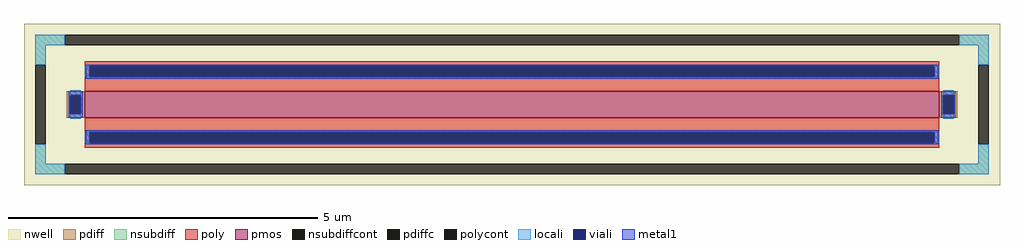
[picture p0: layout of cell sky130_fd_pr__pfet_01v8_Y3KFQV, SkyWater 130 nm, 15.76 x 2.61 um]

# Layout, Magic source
magic
tech sky130A
magscale 1 2
<< nwell >>
rect -1576 -261 1576 261
<< pmos >>
rect -1380 -42 1380 42
<< pdiff >>
rect -1438 30 -1380 42
rect -1438 -30 -1426 30
rect -1392 -30 -1380 30
rect -1438 -42 -1380 -30
rect 1380 30 1438 42
rect 1380 -30 1392 30
rect 1426 -30 1438 30
rect 1380 -42 1438 -30
<< pdiffc >>
rect -1426 -30 -1392 30
rect 1392 -30 1426 30
<< nsubdiff >>
rect -1540 191 -1444 225
rect 1444 191 1540 225
rect -1540 129 -1506 191
rect 1506 129 1540 191
rect -1540 -191 -1506 -129
rect 1506 -191 1540 -129
rect -1540 -225 -1444 -191
rect 1444 -225 1540 -191
<< nsubdiffcont >>
rect -1444 191 1444 225
rect -1540 -129 -1506 129
rect 1506 -129 1540 129
rect -1444 -225 1444 -191
<< poly >>
rect -1380 123 1380 139
rect -1380 89 -1364 123
rect 1364 89 1380 123
rect -1380 42 1380 89
rect -1380 -89 1380 -42
rect -1380 -123 -1364 -89
rect 1364 -123 1380 -89
rect -1380 -139 1380 -123
<< polycont >>
rect -1364 89 1364 123
rect -1364 -123 1364 -89
<< locali >>
rect -1540 191 -1444 225
rect 1444 191 1540 225
rect -1540 129 -1506 191
rect 1506 129 1540 191
rect -1380 89 -1364 123
rect 1364 89 1380 123
rect -1426 30 -1392 46
rect -1426 -46 -1392 -30
rect 1392 30 1426 46
rect 1392 -46 1426 -30
rect -1380 -123 -1364 -89
rect 1364 -123 1380 -89
rect -1540 -191 -1506 -129
rect 1506 -191 1540 -129
rect -1540 -225 -1444 -191
rect 1444 -225 1540 -191
<< viali >>
rect -1364 89 1364 123
rect -1426 -30 -1392 30
rect 1392 -30 1426 30
rect -1364 -123 1364 -89
<< metal1 >>
rect -1376 123 1376 129
rect -1376 89 -1364 123
rect 1364 89 1376 123
rect -1376 83 1376 89
rect -1432 30 -1386 42
rect -1432 -30 -1426 30
rect -1392 -30 -1386 30
rect -1432 -42 -1386 -30
rect 1386 30 1432 42
rect 1386 -30 1392 30
rect 1426 -30 1432 30
rect 1386 -42 1432 -30
rect -1376 -89 1376 -83
rect -1376 -123 -1364 -89
rect 1364 -123 1376 -89
rect -1376 -129 1376 -123
<< properties >>
string FIXED_BBOX -1523 -208 1523 208
string gencell sky130_fd_pr__pfet_01v8
string library sky130
string parameters w 0.42 l 13.8 m 1 nf 1 diffcov 100 polycov 100 guard 1 glc 1 grc 1 gtc 1 gbc 1 tbcov 100 rlcov 100 topc 1 botc 1 poverlap 0 doverlap 1 lmin 0.15 wmin 0.42 compatible {sky130_fd_pr__pfet_01v8  sky130_fd_pr__pfet_01v8_lvt sky130_fd_pr__pfet_01v8_hvt  sky130_fd_pr__pfet_g5v0d10v5} full_metal 1 viasrc 100 viadrn 100 viagate 100 viagb 0 viagr 0 viagl 0 viagt 0
<< end >>
